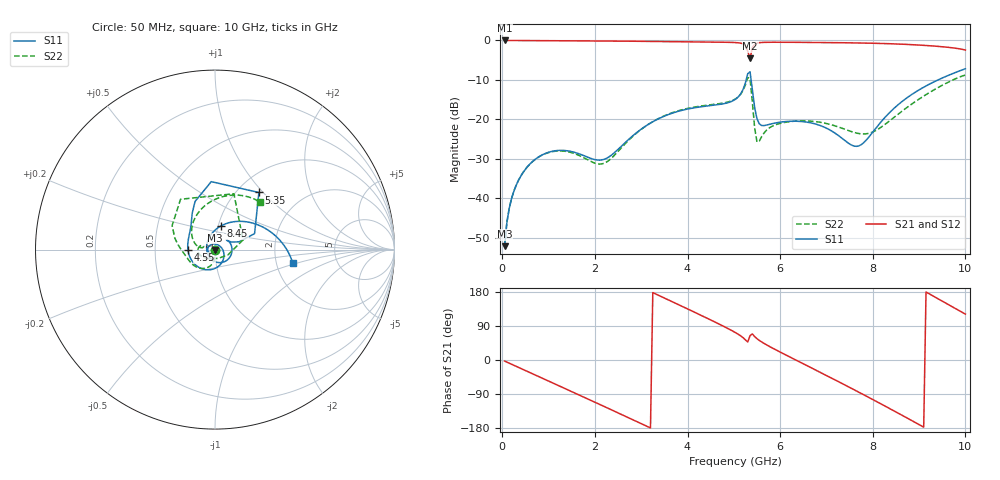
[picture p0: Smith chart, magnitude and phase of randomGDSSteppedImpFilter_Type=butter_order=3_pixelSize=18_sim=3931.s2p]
! freq	dB(S11)	phase(S11)	dB(S12)	phase(S12)
!  dB(S21)	phase(S21)	dB(S22)	phase(S22)
!S-par simulation data
#  GHz  S  DB  R 50
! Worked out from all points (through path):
!   200 points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, 50 MHz to 10 GHz, reference 50 ohm
!   highest |S21| = -0.01 dB at 50 MHz (marker M1); lowest = -4.5 dB at 5.35 GHz (marker M2)
!   group delay of S21, straight-line fit = 165 ps
!   lowest |S11| = -52.1 dB at 50 MHz (marker M3), VSWR 1.00, Z = 50 - j0.247 ohm
!   |S11| at or under -10 dB: start of sweep to 5.266 GHz; 5.373 GHz to 9.409 GHz (4.037 GHz wide, 54.6 % of centre)
!   |S22| runs from -52.1 to -8.8 dB; largest |S21 - S12| = 0
!   S11 on the Smith chart (normalised r, x): 50 MHz: 1.00, -0.00; 4.55 GHz: 0.74, -0.00; 5.35 GHz: 1.25, +0.95; 8.45 GHz: 1.03, +0.28; 10 GHz: 2.46, -0.45
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0.05  -52.10 -84.7  -0.01 -2.8  -0.01 -2.8  -52.06 -83.5
0.2  -40.06 -101.5  -0.02 -11.2  -0.02 -11.2  -40.02 -96.5
0.55  -31.89 -127.9  -0.04 -30.6  -0.04 -30.6  -31.88 -113.9
1.2  -27.87 -177.4  -0.08 -66.7  -0.08 -66.7  -28.00 -139.4
1.75  -29.12 127.3  -0.12 -97.4  -0.12 -97.4  -29.64 -146.5
2.2  -30.10 53.5  -0.14 -122.6  -0.14 -122.6  -31.10 -118.6
2.65  -25.91 -17.5  -0.18 -148.1  -0.18 -148.1  -26.21 -95.6
3.4  -19.68 -88.8  -0.28 169.3  -0.28 169.3  -19.62 -110.8
3.95  -17.50 -131.9  -0.36 137.8  -0.36 137.8  -17.35 -131.0
4.55  -16.44 -179.6  -0.42 102.7  -0.42 102.7  -16.22 -153.9
5.05  -14.77 138.0  -0.55 71.2  -0.55 71.2  -14.70 -178.1
5.3  -8.42 93.1  -2.72 47.5  -2.72 47.5  -9.37 124.4
5.35  -7.93 52.5  -4.54 64.3  -4.54 64.3  -9.67 71.3
5.4  -12.48 22.0  -1.84 68.8  -1.84 68.8  -15.63 19.0
5.5  -19.85 24.6  -0.67 56.2  -0.67 56.2  -25.72 -69.8
6.05  -20.62 17.6  -0.46 17.8  -0.46 17.8  -20.86 -162.1
6.7  -20.97 -40.5  -0.51 -22.4  -0.51 -22.4  -20.48 177.9
7.65  -26.82 -169.3  -0.63 -81.8  -0.63 -81.8  -23.46 162.9
8.35  -18.42 83.6  -0.83 -127.1  -0.83 -127.1  -20.49 170.1
8.45  -17.29 75.6  -0.87 -133.7  -0.87 -133.7  -19.57 167.0
9.2  -11.21 30.2  -1.32 175.9  -1.32 175.9  -13.36 119.4
10  -7.16 -9.7  -2.43 121.1  -2.43 121.1  -8.78 46.8
